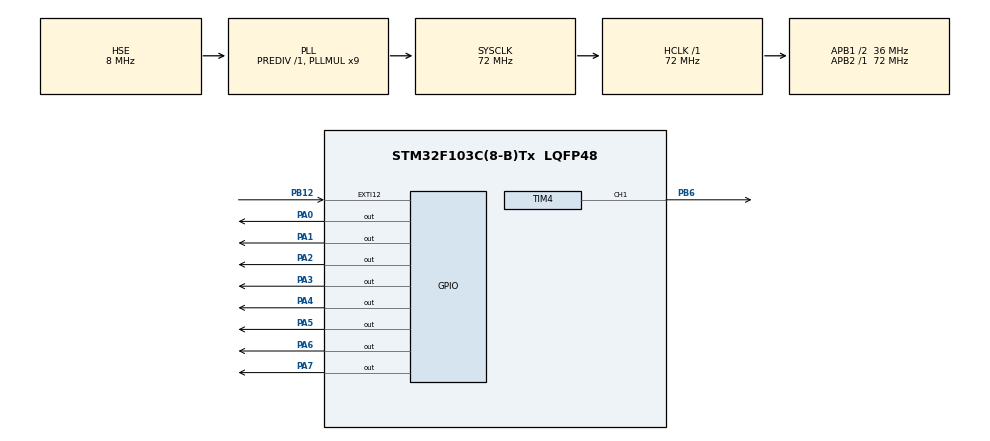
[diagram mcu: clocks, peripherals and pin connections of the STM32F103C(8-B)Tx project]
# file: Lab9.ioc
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Mcu.Family=STM32F1
Mcu.Name=STM32F103C(8-B)Tx
Mcu.Package=LQFP48
NVIC.EXTI15_10_IRQn=true\:0\:0\:false\:false\:true\:true\:true\:true
NVIC.PriorityGroup=NVIC_PRIORITYGROUP_4
PA0-WKUP.Signal=GPIO_Output
PA1.Signal=GPIO_Output
PA13.Mode=Serial_Wire
PA13.Signal=SYS_JTMS-SWDIO
PA14.Mode=Serial_Wire
PA14.Signal=SYS_JTCK-SWCLK
PA2.Signal=GPIO_Output
PA3.Signal=GPIO_Output
PA4.Signal=GPIO_Output
PA5.Signal=GPIO_Output
PA6.Signal=GPIO_Output
PA7.Signal=GPIO_Output
PB12.GPIO_ModeDefaultEXTI=GPIO_MODE_IT_FALLING
PB12.GPIO_PuPd=GPIO_PULLUP
PB12.Signal=GPXTI12
PB6.Signal=S_TIM4_CH1
PD0-OSC_IN.Mode=HSE-External-Oscillator
PD0-OSC_IN.Signal=RCC_OSC_IN
PD1-OSC_OUT.Mode=HSE-External-Oscillator
PD1-OSC_OUT.Signal=RCC_OSC_OUT
ProjectManager.HeapSize=0x200
ProjectManager.StackSize=0x400
ProjectManager.TargetToolchain=MDK-ARM V5.32
RCC.AHBFreq_Value=72000000
RCC.APB1CLKDivider=RCC_HCLK_DIV2
RCC.APB1Freq_Value=36000000
RCC.APB1TimFreq_Value=72000000
RCC.APB2Freq_Value=72000000
RCC.APB2TimFreq_Value=72000000
RCC.HCLKFreq_Value=72000000
RCC.PLLMUL=RCC_PLL_MUL9
RCC.PLLSourceVirtual=RCC_PLLSOURCE_HSE
RCC.SYSCLKFreq_VALUE=72000000
RCC.SYSCLKSource=RCC_SYSCLKSOURCE_PLLCLK
RCC.USBFreq_Value=72000000
SH.S_TIM4_CH1.0=TIM4_CH1,PWM Generation1 CH1
TIM4.AutoReloadPreload=TIM_AUTORELOAD_PRELOAD_ENABLE
TIM4.Channel-PWM\ Generation1\ CH1=TIM_CHANNEL_1
TIM4.Period=1000
TIM4.Prescaler=71
VP_TIM4_VS_ClockSourceINT.Mode=Internal
board=custom

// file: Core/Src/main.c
/* USER CODE BEGIN Header */
#include "main.h"

TIM_HandleTypeDef htim4;

void SystemClock_Config(void);
static void MX_GPIO_Init(void);
static void MX_TIM4_Init(void);

/* USER CODE BEGIN PV */
// ================== ???? (???? MIDI ??) ==================
#define REST 0
#define Bb5  932   // ?B5
#define C6   1047  // C6 (??Do)
#define D6   1175  // D6
#define D_SHARP_6 1245 // ?D6 / ?E6
#define E6   1319  // E6
#define F6   1397  // F6
#define G6   1568  // G6
#define A6   1760  // A6

// ????
#define OCTAVE_SHIFT   0
#define GAP_SHORT      10     // ????? 10ms ??
#define LONG_THRESHOLD 600    // >=600ms ???,?????

// ? ????? ?
// 100 = ??,?????????130 ????????,??????
#define TEMPO_PERCENT  130

const uint16_t led_pins[] = {GPIO_PIN_0, GPIO_PIN_1, GPIO_PIN_2, GPIO_PIN_3,
                             GPIO_PIN_4, GPIO_PIN_5, GPIO_PIN_6, GPIO_PIN_7};

// ================== ?? (Lacie) - MIDI????? ==================
// 1-16?????,17-24?????????
const uint16_t melody_song[] = {
    // ?1-4?? (??)
    F6, E6, D6, E6, F6, G6,
    E6, E6, C6,
    D6, E6, D6, C6,
    C6,
    // ?5-8?? (???)
    F6, E6, D6, E6, F6, G6,
    E6, E6, C6,
    D6, F6, G6,
    A6, G6,
    // ?9-12??
    F6, E6, D6, E6, F6, G6,
    E6, E6, C6,
    D6, E6, D6, C6,
    C6, C6,
    // ?13-16?? (??)
    D6, E6, F6,
    E6, C6,
    D6,
    D6,

    // ===== ?17-24?? (?????? Everytime you kissed me) =====
    D_SHARP_6, D6, C6, D6, D_SHARP_6, F6,
    D6, D6, Bb5,
    C6, D6, C6, Bb5,
    Bb5, REST, REST,  // ???
    D_SHARP_6, D6, C6, D6, D_SHARP_6, F6,
    D6, D6, Bb5,
    C6, D_SHARP_6, F6,
    G6, F6
};

// ??????(ms) - ?? 120 BPM ?????
const uint16_t dur_song[] = {
    // 1-4 ??
    190, 190, 190, 190, 190, 190,
    400, 400, 400,
    190, 190, 400, 400,
    1350,
    // 5-8 ??
    190, 190, 190, 190, 190, 190,
    400, 400, 400,
    400, 400, 400,
    850, 400,
    // 9-12 ??
    190, 190, 190, 190, 190, 190,
    400, 400, 400,
    190, 190, 400, 400,
    750, 400,
    // 13-16 ??
    400, 400, 400,
    750, 400,
    1500,
    900,

    // 17-24 ?? (??)
    190, 190, 190, 190, 190, 190,
    400, 400, 400,
    190, 190, 400, 400,
    1000, 500, 500,
    190, 190, 190, 190, 190, 190,
    400, 400, 400,
    400, 400, 400,
    750, 400
};

// ????(????)
const uint16_t melody_scale[] = { C6, D6, E6, F6, G6, A6, Bb5, D_SHARP_6 };
const uint16_t dur_scale[]    = { 300, 300, 300, 300, 300, 300, 300, 600 };

// ================== ???? ==================
uint8_t  is_playing   = 0;
uint8_t  current_step = 1;
uint8_t  note_index   = 0;
uint8_t  phase        = 0;
uint32_t last_tick    = 0;

const uint16_t *current_melody;
const uint16_t *current_dur;
uint32_t        current_length;

uint32_t g_arr = 1000;

// ================== ????? ==================
void Buzzer_Set_Freq(uint32_t freq)
{
    if (freq == REST) {
        __HAL_TIM_SET_COMPARE(&htim4, TIM_CHANNEL_1, 0);
        return;
    }
    g_arr = 1000000 / freq - 1;
    if (g_arr < 2) g_arr = 2;

    __HAL_TIM_SET_AUTORELOAD(&htim4, g_arr);
    __HAL_TIM_SET_COMPARE(&htim4, TIM_CHANNEL_1, (g_arr * 50) / 100);
}

void Buzzer_Set_Duty(uint8_t percent)
{
    if (percent > 90) percent = 90;
    if (percent < 1)  percent = 1;
    __HAL_TIM_SET_COMPARE(&htim4, TIM_CHANNEL_1, (g_arr * percent) / 100);
}

void Buzzer_Mute(void)
{
    __HAL_TIM_SET_COMPARE(&htim4, TIM_CHANNEL_1, 0);
}

// ================== LED ==================
void Light_LED_By_Freq(uint32_t freq)
{
    HAL_GPIO_WritePin(GPIOA, 0xFF, GPIO_PIN_RESET);
    if (freq == REST) return;

    uint16_t notes[] = {Bb5, C6, D6, D_SHARP_6, E6, F6, G6, A6};
    for (int i = 0; i < 8; i++) {
        if (freq == notes[i]) {
            HAL_GPIO_WritePin(GPIOA, led_pins[i], GPIO_PIN_SET);
            return;
        }
    }
}

void Stop_Play(void)
{
    is_playing = 0;
    Buzzer_Mute();
    HAL_GPIO_WritePin(GPIOA, 0xFF, GPIO_PIN_RESET);
}
/* USER CODE END PV */

int main(void)
{
  HAL_Init();
  SystemClock_Config();
  MX_GPIO_Init();
  MX_TIM4_Init();

  /* USER CODE BEGIN 2 */
  HAL_GPIO_WritePin(GPIOA, 0xFF, GPIO_PIN_RESET);

  HAL_TIM_PWM_Start(&htim4, TIM_CHANNEL_1);
  Buzzer_Mute();

  uint8_t  key_state     = 1;
  uint8_t  key_processed = 0;
  uint32_t key_tick      = 0;
  /* USER CODE END 2 */

  while (1)
  {
      // ============== 1. ???? ==============
      uint8_t key_cur = HAL_GPIO_ReadPin(GPIOB, GPIO_PIN_12);
      if (key_cur != key_state) {
          key_tick  = HAL_GetTick();
          key_state = key_cur;
      }

      if ((HAL_GetTick() - key_tick) > 20) {
          if (key_state == 0 && key_processed == 0) {
              key_processed = 1;

              if (current_step == 1) {
                  is_playing     = 1;
                  current_melody = melody_song;
                  current_dur    = dur_song;
                  current_length = sizeof(melody_song) / sizeof(melody_song[0]);
                  note_index = 0; phase = 0; last_tick = 0;
              }
              else if (current_step == 2) Stop_Play();
              else if (current_step == 3) {
                  is_playing     = 1;
                  current_melody = melody_scale;
                  current_dur    = dur_scale;
                  current_length = sizeof(melody_scale) / sizeof(melody_scale[0]);
                  note_index = 0; phase = 0; last_tick = 0;
              }
              else if (current_step == 4) Stop_Play();

              current_step++;
              if (current_step > 4) current_step = 1;
          }
          if (key_state == 1 && key_processed == 1) key_processed = 0;
      }

      // ============== 2. ???? ==============
      if (is_playing) {
          uint32_t now      = HAL_GetTick();

          // ?????????,??????????
          uint32_t duration = (current_dur[note_index] * TEMPO_PERCENT) / 100;
          uint32_t note     = current_melody[note_index];

          uint32_t gate;
          if (note == REST) {
              gate = 0;
          } else if (duration >= LONG_THRESHOLD) {
              gate = duration;               // ???????
          } else {
              gate = duration - GAP_SHORT;   // ???????
          }

          if (phase == 0) {
              if (last_tick == 0) {
                  if (note == REST) {
                      Buzzer_Mute();
                      HAL_GPIO_WritePin(GPIOA, 0xFF, GPIO_PIN_RESET);
                  } else {
                      Buzzer_Set_Freq(note);
                      Light_LED_By_Freq(note);
                  }
                  last_tick = now;
              }

              // ?????:???(50%) -> ????(35%) -> ????(28%)
              if (note != REST) {
                  uint32_t e = now - last_tick;
                  if (e < 15) Buzzer_Set_Duty(50);
                  else if (e < 80) Buzzer_Set_Duty(35);
                  else Buzzer_Set_Duty(28);
              }

              if (now - last_tick >= gate) {
                  Buzzer_Mute();
                  phase     = 1;
                  last_tick = now;
              }
          }
          else {
              uint32_t rest_time = duration - gate;
              if (now - last_tick >= rest_time) {
                  HAL_GPIO_WritePin(GPIOA, 0xFF, GPIO_PIN_RESET);
                  note_index++;
                  if (note_index >= current_length) note_index = 0;
                  phase     = 0;
                  last_tick = 0;
              }
          }
      }
  }
}

/* --- ???????? --- */
void SystemClock_Config(void)
{
  RCC_OscInitTypeDef RCC_OscInitStruct = {0};
  RCC_ClkInitTypeDef RCC_ClkInitStruct = {0};
  RCC_OscInitStruct.OscillatorType = RCC_OSCILLATORTYPE_HSE;
  RCC_OscInitStruct.HSEState = RCC_HSE_ON;
  RCC_OscInitStruct.HSEPredivValue = RCC_HSE_PREDIV_DIV1;
  RCC_OscInitStruct.HSIState = RCC_HSI_ON;
  RCC_OscInitStruct.PLL.PLLState = RCC_PLL_ON;
  RCC_OscInitStruct.PLL.PLLSource = RCC_PLLSOURCE_HSE;
  RCC_OscInitStruct.PLL.PLLMUL = RCC_PLL_MUL9;
  if (HAL_RCC_OscConfig(&RCC_OscInitStruct) != HAL_OK) { Error_Handler(); }
  RCC_ClkInitStruct.ClockType = RCC_CLOCKTYPE_HCLK|RCC_CLOCKTYPE_SYSCLK
                              |RCC_CLOCKTYPE_PCLK1|RCC_CLOCKTYPE_PCLK2;
  RCC_ClkInitStruct.SYSCLKSource = RCC_SYSCLKSOURCE_PLLCLK;
  RCC_ClkInitStruct.AHBCLKDivider = RCC_SYSCLK_DIV1;
  RCC_ClkInitStruct.APB1CLKDivider = RCC_HCLK_DIV2;
  RCC_ClkInitStruct.APB2CLKDivider = RCC_HCLK_DIV1;
  if (HAL_RCC_ClockConfig(&RCC_ClkInitStruct, FLASH_LATENCY_2) != HAL_OK) { Error_Handler(); }
}

static void MX_TIM4_Init(void)
{
  TIM_ClockConfigTypeDef sClockSourceConfig = {0};
  TIM_MasterConfigTypeDef sMasterConfig = {0};
  TIM_OC_InitTypeDef sConfigOC = {0};
  htim4.Instance = TIM4;
  htim4.Init.Prescaler = 71;
  htim4.Init.CounterMode = TIM_COUNTERMODE_UP;
  htim4.Init.Period = 1000;
  htim4.Init.ClockDivision = TIM_CLOCKDIVISION_DIV1;
  htim4.Init.AutoReloadPreload = TIM_AUTORELOAD_PRELOAD_DISABLE;
  if (HAL_TIM_Base_Init(&htim4) != HAL_OK) { Error_Handler(); }
  sClockSourceConfig.ClockSource = TIM_CLOCKSOURCE_INTERNAL;
  if (HAL_TIM_ConfigClockSource(&htim4, &sClockSourceConfig) != HAL_OK) { Error_Handler(); }
  if (HAL_TIM_PWM_Init(&htim4) != HAL_OK) { Error_Handler(); }
  sMasterConfig.MasterOutputTrigger = TIM_TRGO_RESET;
  sMasterConfig.MasterSlaveMode = TIM_MASTERSLAVEMODE_DISABLE;
  if (HAL_TIMEx_MasterConfigSynchronization(&htim4, &sMasterConfig) != HAL_OK) { Error_Handler(); }
  sConfigOC.OCMode = TIM_OCMODE_PWM1;
  sConfigOC.Pulse = 500;
  sConfigOC.OCPolarity = TIM_OCPOLARITY_HIGH;
  sConfigOC.OCFastMode = TIM_OCFAST_DISABLE;
  if (HAL_TIM_PWM_ConfigChannel(&htim4, &sConfigOC, TIM_CHANNEL_1) != HAL_OK) { Error_Handler(); }
  HAL_TIM_MspPostInit(&htim4);
}

static void MX_GPIO_Init(void)
{
  GPIO_InitTypeDef GPIO_InitStruct = {0};
  __HAL_RCC_GPIOA_CLK_ENABLE();
  __HAL_RCC_GPIOB_CLK_ENABLE();

  HAL_GPIO_WritePin(GPIOA, GPIO_PIN_0|GPIO_PIN_1|GPIO_PIN_2|GPIO_PIN_3|
                          GPIO_PIN_4|GPIO_PIN_5|GPIO_PIN_6|GPIO_PIN_7, GPIO_PIN_RESET);
  GPIO_InitStruct.Pin   = GPIO_PIN_0|GPIO_PIN_1|GPIO_PIN_2|GPIO_PIN_3|
                          GPIO_PIN_4|GPIO_PIN_5|GPIO_PIN_6|GPIO_PIN_7;
  GPIO_InitStruct.Mode  = GPIO_MODE_OUTPUT_PP;
  GPIO_InitStruct.Pull  = GPIO_NOPULL;
  GPIO_InitStruct.Speed = GPIO_SPEED_FREQ_LOW;
  HAL_GPIO_Init(GPIOA, &GPIO_InitStruct);

  GPIO_InitStruct.Pin  = GPIO_PIN_12;
  GPIO_InitStruct.Mode = GPIO_MODE_INPUT;
  GPIO_InitStruct.Pull = GPIO_PULLUP;
  HAL_GPIO_Init(GPIOB, &GPIO_InitStruct);
}

void Error_Handler(void) { __disable_irq(); while (1) { } }
